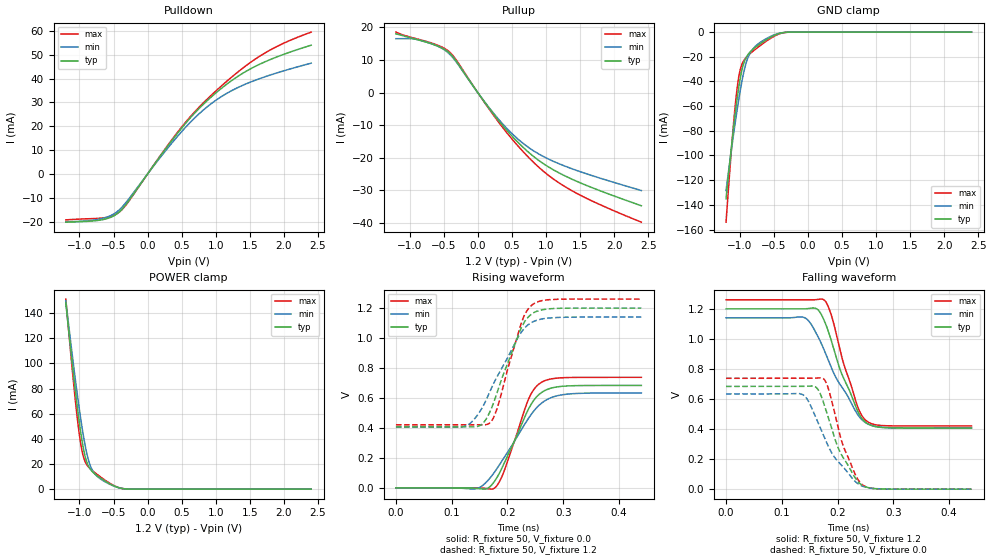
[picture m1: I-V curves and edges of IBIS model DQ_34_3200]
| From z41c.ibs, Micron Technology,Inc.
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| MODEL DQ_34_3200 (34 Ohm Data I/O with no ODT, 1600-3200Mbps)
[Model]   DQ_34_3200
Model_type   I/O
Vinl = 905.000mV
Vinh = 1015.000mV
Vmeas = 960.000mV
Vref = 1200.000mV
Cref = 0.0pF
Rref = 50.000Ohm
|   typ   min   max
|C_comp   0.690pF   0.640pF   0.740pF
C_comp_pullup   0.345pF   0.320pF   0.370pF
C_comp_pulldown   0.345pF   0.320pF   0.370pF
[Model Spec]
| Timing spec test load voltage corners
Vref   1.2000V   1.1400V   1.2600V
| Dynamic Overshoot Parameters from DDR4 Specification
|D_overshoot_ampl_h   0.40   NA   NA
|D_overshoot_ampl_l   0.40   NA   NA
|D_overshoot_area_h   0.0800n   NA   NA
|D_overshoot_area_l   0.0800n   NA   NA
[Voltage Range]   1.2000V   1.1400V   1.2600V
| Junction Temperature (Ambient temp is 35C typ, 95C min, 0C max)
[Temperature Range]   50.0   110.0   0.0
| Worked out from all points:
|   slope of the pulldown table from 0 to 0.18 V, typ, clamps not added: 24.9 ohm
|   slope of the pullup table from 0 to 0.18 V, typ, clamps not added: 34.7 ohm
|   GND clamp passes 1 mA (typ) near -0.41 V on its own axis
|   POWER clamp passes 1 mA (typ) near -0.41 V on its own axis
|   rising waveform, R_fixture 50, V_fixture 0.0: 20-80 % time 50.1ps typ, 65.1ps min, 40.2ps max; typ from 0 V to 0.684 V
|   rising waveform, R_fixture 50, V_fixture 1.2: 20-80 % time 46.8ps typ, 59.9ps min, 38ps max; typ from 0.407 V to 1.2 V
|   falling waveform, R_fixture 50, V_fixture 1.2: 20-80 % time 46.5ps typ, 59.5ps min, 38.6ps max; typ from 1.2 V to 0.407 V
|   falling waveform, R_fixture 50, V_fixture 0.0: 20-80 % time 44.7ps typ, 57.4ps min, 36.6ps max; typ from 0.684 V to 0 V
[Pulldown]
|   Voltage   I(typ)   I(min)   I(max)
-1.2V     -20.25mA   -20.12mA   -19.28mA
-663mV    -19.21mA   -18.69mA   -18.5mA
-528mV    -18.05mA   -17.31mA   -17.72mA
-405mV    -15.68mA   -14.78mA   -15.78mA
-273mV    -11.11mA   -10.39mA   -11.36mA
426mV     16.56mA    15.32mA    16.99mA
681mV     25.21mA    23.21mA    25.72mA
912mV     31.72mA    28.99mA    32.4mA
1.284V    40.15mA    35.66mA    41.8mA
1.665V    46.28mA    40.17mA    49.74mA
1.998V    50.16mA    43.23mA    54.83mA
2.4V      53.98mA    46.45mA    59.47mA
[GND Clamp]
|   Voltage   I(typ)   I(min)   I(max)
-1.2V     -135.1mA   -128.5mA   -154.1mA
-1.134V   -99.81mA   -100.7mA   -104.3mA
-1.08V    -72.99mA   -79.12mA   -68.16mA
-1.044V   -56.83mA   -65.49mA   -48.57mA
-1.008V   -42.9mA    -52.76mA   -34.68mA
-957mV    -28.33mA   -37mA      -24.89mA
-891mV    -19.26mA   -22.51mA   -19.73mA
-837mV    -15.56mA   -15.96mA   -16.95mA
-741mV    -11.14mA   -10.11mA   -12.7mA
-474mV    -2.252mA   -1.84mA    -2.78mA
-306mV    -137.2uA   -127.6uA   -172.6uA
2.4V      0A         0A         0A
[Pullup]
|   Voltage   I(typ)   I(min)   I(max)
-1.2V     18.02mA    16.54mA    18.57mA
-951mV    16.6mA     16.54mA    16.81mA
-762mV    15.53mA    15.55mA    15.74mA
-540mV    13.85mA    13.74mA    14.12mA
-405mV    11.92mA    11.64mA    12.28mA
108mV     -3.155mA   -3.03mA    -3.297mA
339mV     -9.453mA   -8.998mA   -9.984mA
594mV     -15.35mA   -14.35mA   -16.48mA
843mV     -20mA      -18.2mA    -21.9mA
1.116V    -23.79mA   -21.16mA   -26.63mA
1.404V    -26.8mA    -23.55mA   -30.38mA
2.4V      -34.75mA   -30.08mA   -39.79mA
[POWER Clamp]
|   Voltage   I(typ)   I(min)   I(max)
-1.2V     148.2mA    149.9mA    151.2mA
-1.122V   108.2mA    114.2mA    104.8mA
-1.056V   76.46mA    85.57mA    68.64mA
-1.008V   55.59mA    66.14mA    46.17mA
-969mV    40.88mA    51.64mA    32.27mA
-915mV    25.67mA    34.42mA    21.73mA
-852mV    16.83mA    20.36mA    16.79mA
-798mV    13.27mA    13.99mA    14.19mA
-714mV    9.674mA    9.039mA    10.65mA
-471mV    2.089mA    1.966mA    2.293mA
-303mV    132.2uA    164.1uA    120.9uA
2.4V      0A         0A         0A
[Ramp]
|   typ   min   max
| 20% - 80%
dV/dt_r   410.18m/50.10p   380.12m/65.11p   442.63m/40.25p
dV/dt_f   475.94m/46.47p   440.00m/59.45p   503.65m/38.59p
| Slew rate: Power terminated
|SR_r[V/ns]   10.17   7.34   13.24
|SR_f[V/ns]   10.24   7.40   13.05
| 25% - 75%
|dV/dt_r   341.82m/41.02p   316.77m/53.29p   368.86m/32.98p
|dV/dt_f   396.62m/39.04p   366.67m/49.88p   419.71m/32.51p
| Slew rate: Power terminated
|SR_r[V/ns]   10.20   7.35   13.31
|SR_f[V/ns]   10.16   7.35   12.91
R_load = 50
[Rising Waveform]
R_fixture = 50
V_fixture = 0.0
|   Time   V(typ)   V(min)   V(max)
0s        6.913uV    15.29uV    4.668uV
142ps     -2.469mV   -6.528mV   294.1uV
162ps     -5.907mV   38.03mV    -4.479mV
175ps     34.79mV    95.98mV    -5.09mV
183ps     80.94mV    139.3mV    25.3mV
193ps     155.8mV    196.4mV    102.4mV
238ps     528.3mV    466.1mV    593.6mV
258ps     628mV      555.9mV    697.3mV
304ps     679.6mV    624.3mV    735.9mV
440ps     683.6mV    633.6mV    737.7mV
[Rising Waveform]
R_fixture   = 50
V_fixture   = 1.2
V_fixture_min = 1.14
V_fixture_max = 1.26
|   Time   V(typ)   V(min)   V(max)
0s        406.8mV    406.7mV    420.6mV
125ps     406.7mV    413.2mV    420.6mV
152ps     419.2mV    518.1mV    420.1mV
169ps     511.5mV    646.8mV    435.7mV
183ps     654.2mV    753.4mV    549mV
203ps     856.7mV    888.3mV    826.7mV
228ps     1.092V     1.055V     1.132V
239ps     1.147V     1.094V     1.203V
251ps     1.176V     1.116V     1.237V
440ps     1.2V       1.14V      1.26V
[Falling Waveform]
R_fixture   = 50
V_fixture   = 1.2
V_fixture_min = 1.14
V_fixture_max = 1.26
|   Time   V(typ)   V(min)   V(max)
0s        1.2V       1.14V      1.26V
138ps     1.2V       1.145V     1.26V
162ps     1.201V     1.036V     1.261V
174ps     1.138V     942.7mV    1.263V
189ps     985.5mV    806mV      1.156V
208ps     761.8mV    677.1mV    872.3mV
237ps     510.5mV    490.9mV    538.2mV
251ps     442.5mV    440.9mV    456.4mV
282ps     409.8mV    411mV      422.9mV
440ps     406.8mV    406.7mV    420.6mV
[Falling Waveform]
R_fixture = 50
V_fixture = 0.0
|   Time   V(typ)   V(min)   V(max)
0s        683.6mV    633.6mV    737.7mV
136ps     683.7mV    631.1mV    737.7mV
161ps     678.7mV    475.1mV    739mV
175ps     573.4mV    356.8mV    733.7mV
184ps     469.5mV    280.2mV    662.3mV
199ps     293.7mV    191.3mV    438.8mV
211ps     203.9mV    143.6mV    278.9mV
235ps     57.07mV    40.3mV     73.25mV
250ps     15.69mV    13.43mV    17.1mV
440ps     6.915uV    15.36uV    4.67uV
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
